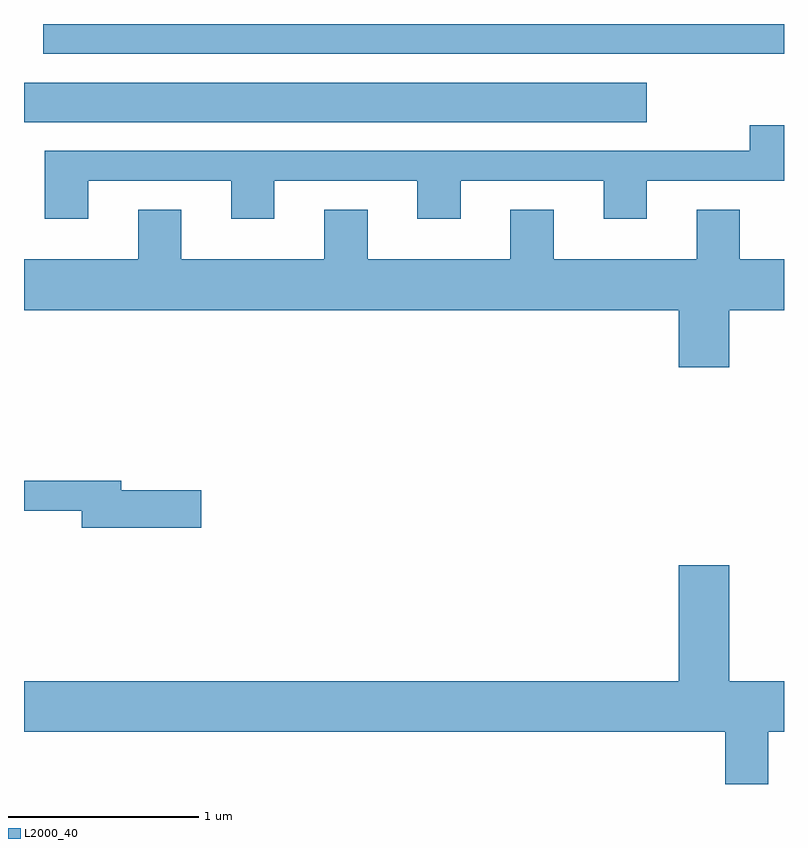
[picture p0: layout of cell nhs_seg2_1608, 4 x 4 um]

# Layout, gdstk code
import gdstk
lib = gdstk.Library(unit=1e-6, precision=1e-09)
def R(c, l, rs):  # rectangles x0, y0, x1, y1
    for r in rs: c.add(gdstk.rectangle(r[:2], r[2:], *l))
def P(c, l, *ps):  # polygons
    for p in ps: c.add(gdstk.Polygon(p, *l))
L2000_40 = (2000, 40)

nhs_seg2_1608 = lib.new_cell('nhs_seg2_1608')
R(nhs_seg2_1608, L2000_40, [(231.611,1069.286,234.889,1069.494), (231.711,1069.646,235.611,1069.802)])
P(nhs_seg2_1608, L2000_40, [(231.949,1068.976),(232.701,1068.976),(232.701,1068.776),(232.929,1068.776),(232.929,1068.976),(233.681,1068.976),(233.681,1068.776),(233.909,1068.776),(233.909,1068.976),(234.661,1068.976),(234.661,1068.776),(234.889,1068.776),(234.889,1068.976),(235.611,1068.976),(235.611,1069.269),(235.431,1069.269),(235.431,1069.134),(231.721,1069.134),(231.721,1068.776),(231.949,1068.776)],
  [(235.324,1068.296),(235.611,1068.296),(235.611,1068.564),(235.379,1068.564),(235.379,1068.824),(235.151,1068.824),(235.151,1068.564),(234.399,1068.564),(234.399,1068.824),(234.171,1068.824),(234.171,1068.564),(233.419,1068.564),(233.419,1068.824),(233.191,1068.824),(233.191,1068.564),(232.439,1068.564),(232.439,1068.824),(232.211,1068.824),(232.211,1068.564),(231.611,1068.564),(231.611,1068.296),(235.056,1068.296),(235.056,1067.996),(235.324,1067.996)],
  [(232.544,1067.349),(232.124,1067.349),(232.124,1067.399),(231.611,1067.399),(231.611,1067.241),(231.916,1067.241),(231.916,1067.151),(232.544,1067.151)],
  [(235.529,1066.076),(235.611,1066.076),(235.611,1066.344),(235.324,1066.344),(235.324,1066.954),(235.056,1066.954),(235.056,1066.344),(231.611,1066.344),(231.611,1066.076),(235.301,1066.076),(235.301,1065.802),(235.529,1065.802)])

lib.write_gds('nhs_seg2_1608.gds')
